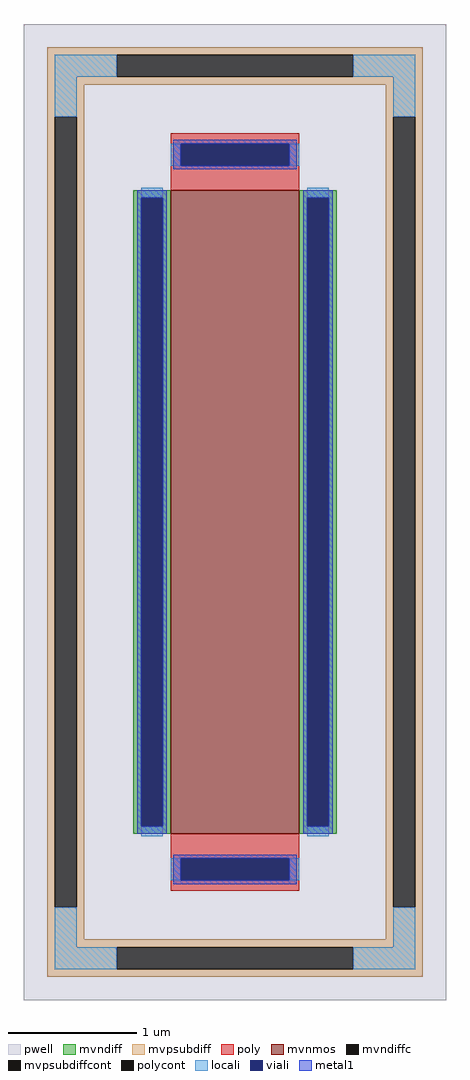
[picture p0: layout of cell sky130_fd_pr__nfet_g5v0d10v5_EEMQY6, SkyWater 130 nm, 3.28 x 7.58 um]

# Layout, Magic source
magic
tech sky130A
<< pwell >>
rect -164 -379 164 379
<< mvnmos >>
rect -50 -250 50 250
<< mvndiff >>
rect -79 244 -50 250
rect -79 -244 -73 244
rect -56 -244 -50 244
rect -79 -250 -50 -244
rect 50 244 79 250
rect 50 -244 56 244
rect 73 -244 79 244
rect 50 -250 79 -244
<< mvndiffc >>
rect -73 -244 -56 244
rect 56 -244 73 244
<< mvpsubdiff >>
rect -146 355 146 361
rect -146 338 -92 355
rect 92 338 146 355
rect -146 332 146 338
rect -146 307 -117 332
rect -146 -307 -140 307
rect -123 -307 -117 307
rect 117 307 146 332
rect -146 -332 -117 -307
rect 117 -307 123 307
rect 140 -307 146 307
rect 117 -332 146 -307
rect -146 -338 146 -332
rect -146 -355 -92 -338
rect 92 -355 146 -338
rect -146 -361 146 -355
<< mvpsubdiffcont >>
rect -92 338 92 355
rect -140 -307 -123 307
rect 123 -307 140 307
rect -92 -355 92 -338
<< poly >>
rect -50 286 50 294
rect -50 269 -42 286
rect 42 269 50 286
rect -50 250 50 269
rect -50 -269 50 -250
rect -50 -286 -42 -269
rect 42 -286 50 -269
rect -50 -294 50 -286
<< polycont >>
rect -42 269 42 286
rect -42 -286 42 -269
<< locali >>
rect -140 338 -92 355
rect 92 338 140 355
rect -140 307 -123 338
rect 123 307 140 338
rect -50 269 -42 286
rect 42 269 50 286
rect -73 244 -56 252
rect -73 -252 -56 -244
rect 56 244 73 252
rect 56 -252 73 -244
rect -50 -286 -42 -269
rect 42 -286 50 -269
rect -140 -338 -123 -307
rect 123 -338 140 -307
rect -140 -355 -92 -338
rect 92 -355 140 -338
<< viali >>
rect -42 269 42 286
rect -73 -244 -56 244
rect 56 -244 73 244
rect -42 -286 42 -269
<< metal1 >>
rect -48 286 48 289
rect -48 269 -42 286
rect 42 269 48 286
rect -48 266 48 269
rect -76 244 -53 250
rect -76 -244 -73 244
rect -56 -244 -53 244
rect -76 -250 -53 -244
rect 53 244 76 250
rect 53 -244 56 244
rect 73 -244 76 244
rect 53 -250 76 -244
rect -48 -269 48 -266
rect -48 -286 -42 -269
rect 42 -286 48 -269
rect -48 -289 48 -286
<< properties >>
string FIXED_BBOX -131 -346 131 346
string gencell sky130_fd_pr__nfet_g5v0d10v5
string library sky130
string parameters w 5.0 l 1.0 m 1 nf 1 diffcov 100 polycov 100 guard 1 glc 1 grc 1 gtc 1 gbc 1 tbcov 100 rlcov 100 topc 1 botc 1 poverlap 0 doverlap 1 lmin 0.50 wmin 0.42 compatible {sky130_fd_pr__nfet_01v8 sky130_fd_pr__nfet_01v8_lvt  sky130_fd_bs_flash__special_sonosfet_star  sky130_fd_pr__nfet_g5v0d10v5 sky130_fd_pr__nfet_05v0_nvt  sky130_fd_pr__nfet_03v3_nvt} full_metal 1 viasrc 100 viadrn 100 viagate 100 viagb 0 viagr 0 viagl 0 viagt 0
<< end >>
